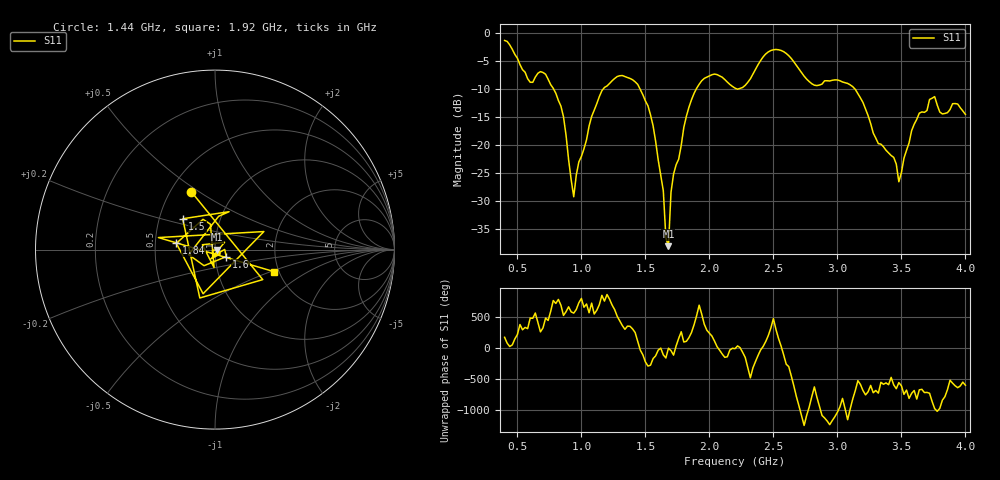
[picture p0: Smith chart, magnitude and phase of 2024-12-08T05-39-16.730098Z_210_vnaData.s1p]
!Created with skrf (http://scikit-rf.org).
# Hz S RI R 50.0
!freq ReS11 ImS11
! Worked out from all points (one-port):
!   181 points, 400 MHz to 4 GHz, reference 50 ohm
!   lowest |S11| = -38.0 dB at 1.68 GHz (marker M1), VSWR 1.03, Z = 51.3 - j0.00538 ohm
!   |S11| at or under -10 dB: 783.8 MHz to 1.169 GHz (385.1 MHz wide, 39.4 % of centre); 1.459 GHz to 1.896 GHz (437.6 MHz wide, 26.1 % of centre); 3.139 GHz to end of sweep
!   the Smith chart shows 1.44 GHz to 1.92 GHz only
!   S11 on the Smith chart (normalised r, x): 1.44 GHz: 0.63, +0.47; 1.5 GHz: 0.66, +0.24; 1.6 GHz: 1.13, -0.09; 1.84 GHz: 0.64, +0.05; 1.92 GHz: 1.88, -0.53
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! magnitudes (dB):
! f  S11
! 400 MHz  -1.3
! 600 MHz  -8.8
! 720 MHz  -7.3
! 860 MHz  -14.9
! 940 MHz  -29.2
! 1.08 GHz  -14.9
! 1.3 GHz  -7.6
! 1.44 GHz  -9.1
! 1.5 GHz  -12.1
! 1.6 GHz  -22.6
! 1.64 GHz  -28.1
! 1.66 GHz  -36.5
! 1.68 GHz  -38.0
! 1.7 GHz  -28.4
! 1.76 GHz  -22.5
! 1.84 GHz  -13.2
! 1.92 GHz  -9.1
! 2.2 GHz  -9.8
! 2.48 GHz  -3.1
! 2.66 GHz  -5.1
! 2.82 GHz  -9.3
! 3.1 GHz  -9.2
! 3.44 GHz  -22.2
! 3.48 GHz  -26.5
! 3.56 GHz  -19.6
! 3.76 GHz  -11.3
! 3.82 GHz  -14.4
! 4 GHz  -14.5
